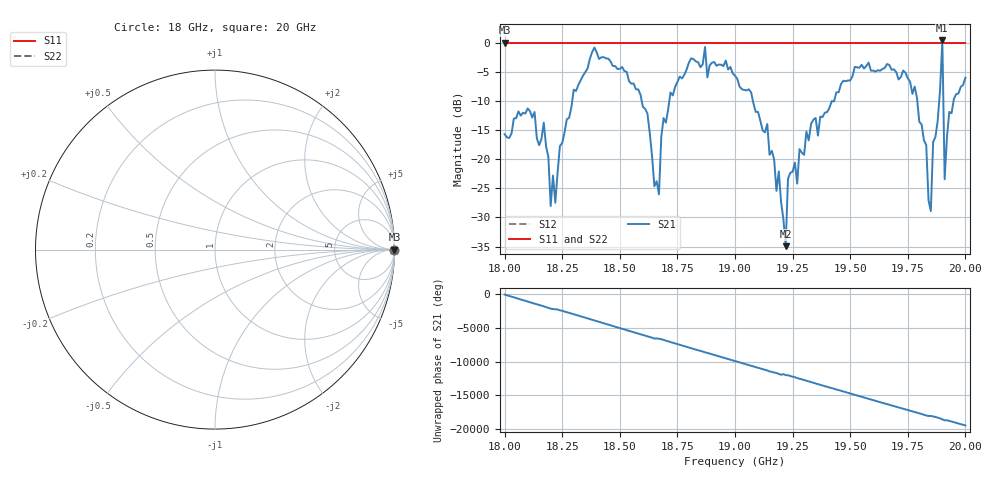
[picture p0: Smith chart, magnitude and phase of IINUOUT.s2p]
!Agilent N9918A: A.07.57
!Date: Monday, 27 July 2020 18:12:01
!Timezone: (GMT-08:00) Pacific Time (US & Canada)
!Model: N9918A
!Serial: MY53103598
!GPS Latitude:
!GPS Longitude:
!GPS TimeStamp: 0001-01-01 00:00:00Z
!GPS Seconds Since Last Read: 0
!CHECKSUM:1461975971
!Correction: S11()S21(Rdy)S12()S22()
!S2P File: Measurements:S11,S21,S12,S22:
# Hz S DB R 50
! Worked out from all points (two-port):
!   201 points, 18 GHz to 20 GHz, reference 50 ohm
!   highest |S21| = 0.39 dB at 19.9 GHz (marker M1); lowest = -34.9 dB at 19.22 GHz (marker M2)
!   |S21| within 3 dB of the highest: 18.37141 GHz to 18.40837 GHz (36.96 MHz wide, 0.201 % of centre); 18.41626 GHz to 18.43629 GHz (20.03 MHz wide, 0.109 % of centre)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
!   lowest |S11| = 0.0 dB at 18 GHz (marker M3)
!   |S11| at or under -10 dB: nowhere
!   |S22| runs from 0.0 to 0.0 dB; largest |S21 - S12| = 2
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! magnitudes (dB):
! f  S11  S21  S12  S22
! 18 GHz  0.0  -15.7  0.0  0.0
! 18.17 GHz  0.0  -13.7  0.0  0.0
! 18.2 GHz  0.0  -28.0  0.0  0.0
! 18.22 GHz  0.0  -27.5  0.0  0.0
! 18.24 GHz  0.0  -17.8  0.0  0.0
! 18.34 GHz  0.0  -5.7  0.0  0.0
! 18.58 GHz  0.0  -8.0  0.0  0.0
! 18.67 GHz  0.0  -26.0  0.0  0.0
! 18.69 GHz  0.0  -12.9  0.0  0.0
! 18.81 GHz  0.0  -2.7  0.0  0.0
! 19 GHz  0.0  -5.7  0.0  0.0
! 19.14 GHz  0.0  -14.0  0.0  0.0
! 19.22 GHz  0.0  -34.9  0.0  0.0
! 19.23 GHz  0.0  -23.4  0.0  0.0
! 19.34 GHz  0.0  -13.2  0.0  0.0
! 19.67 GHz  0.0  -3.8  0.0  0.0
! 19.78 GHz  0.0  -7.5  0.0  0.0
! 19.85 GHz  0.0  -28.9  0.0  0.0
! 19.9 GHz  0.0  0.4  0.0  0.0
! 19.91 GHz  0.0  -23.5  0.0  0.0
! 19.93 GHz  0.0  -11.9  0.0  0.0
! 20 GHz  0.0  -6.0  0.0  0.0
